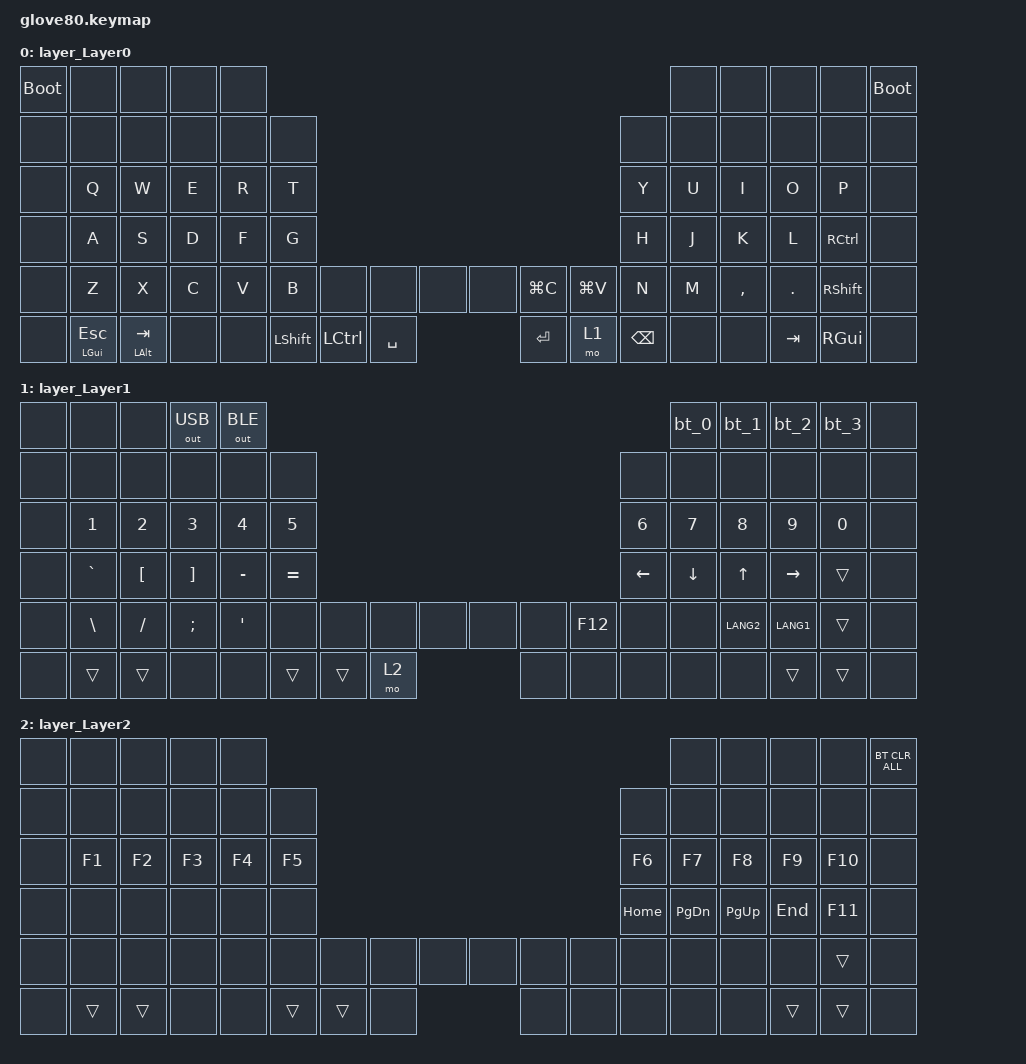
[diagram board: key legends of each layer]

/*
 * Copyright (c) 2020 The ZMK Contributors
 * Copyright (c) 2022 Innaworks Development Limited, trading as MoErgo
 *
 * SPDX-License-Identifier: MIT
 */


/* THIS FILE WAS GENERATED BY GLOVE80 LAYOUT EDITOR
 *
 * This file was generated automatically. You may or may not want to
 * edit it directly.
 */

#include <behaviors.dtsi>
#include <dt-bindings/zmk/keys.h>
#include <dt-bindings/zmk/bt.h>
#include <dt-bindings/zmk/rgb.h>
#include <dt-bindings/zmk/outputs.h>


/ {
    /* Glove80 system behavior & macros */

    macros {
        bt_0: bt_profile_macro_0 {
            label = "BT_0";
            compatible = "zmk,behavior-macro";
            #binding-cells = <0>;
            bindings
                = <&out OUT_BLE>,
                  <&bt BT_SEL 0>;
        };
    };

    macros {
        bt_1: bt_profile_macro_1 {
            label = "BT_1";
            compatible = "zmk,behavior-macro";
            #binding-cells = <0>;
            bindings
                = <&out OUT_BLE>,
                  <&bt BT_SEL 1>;
        };
    };

    macros {
        bt_2: bt_profile_macro_2 {
            label = "BT_2";
            compatible = "zmk,behavior-macro";
            #binding-cells = <0>;
            bindings
                = <&out OUT_BLE>,
                  <&bt BT_SEL 2>;
        };
    };

    macros {
        bt_3: bt_profile_macro_3 {
            label = "BT_3";
            compatible = "zmk,behavior-macro";
            #binding-cells = <0>;
            bindings
                = <&out OUT_BLE>,
                  <&bt BT_SEL 3>;
        };
    };

    /* Custom Defined Behaviors */


    /* Automatically generated keymap */
    keymap {
        compatible = "zmk,keymap";

        layer_Layer0 {
            bindings = <
  &bootloader        &none         &none   &none  &none                                                                                &none      &none    &none      &none  &bootloader
       &none         &none         &none   &none  &none  &none                                                                  &none  &none      &none    &none      &none        &none
       &none         &kp Q         &kp W   &kp E  &kp R  &kp T                                                                  &kp Y  &kp U      &kp I    &kp O      &kp P        &none
       &none         &kp A         &kp S   &kp D  &kp F  &kp G                                                                  &kp H  &kp J      &kp K    &kp L  &kp RCTRL        &none
       &none         &kp Z         &kp X   &kp C  &kp V  &kp B      &none      &none      &none    &none  &kp LG(C)  &kp LG(V)  &kp N  &kp M  &kp COMMA  &kp DOT  &kp RSHFT        &none
       &none  &mt LGUI ESC  &mt LALT TAB   &none  &none         &kp LSHFT  &kp LCTRL  &kp SPACE  &kp RET      &mo 1   &kp BSPC         &none      &none  &kp TAB   &kp RGUI        &none
            >;
        };

        layer_Layer1 {
            bindings = <
  &none      &none     &none  &out OUT_USB  &out OUT_BLE                                                                          &bt_0      &bt_1      &bt_2   &bt_3  &none
  &none      &none     &none         &none         &none      &none                                                     &none     &none      &none      &none   &none  &none
  &none     &kp N1    &kp N2        &kp N3        &kp N4     &kp N5                                                    &kp N6    &kp N7     &kp N8     &kp N9  &kp N0  &none
  &none  &kp GRAVE  &kp LBKT      &kp RBKT     &kp MINUS  &kp EQUAL                                                  &kp LEFT  &kp DOWN     &kp UP  &kp RIGHT  &trans  &none
  &none   &kp BSLH  &kp FSLH      &kp SEMI       &kp SQT      &none   &none    &none  &none   &none  &none  &kp F12     &none     &none  &kp LANG2  &kp LANG1  &trans  &none
  &none     &trans    &trans         &none         &none             &trans   &trans  &mo 2   &none  &none    &none               &none      &none     &trans  &trans  &none
           >;
        };

        layer_Layer2 {
            bindings = <
  &none   &none   &none   &none   &none                                                                    &none      &none    &none    &none  &bt BT_CLR_ALL
  &none   &none   &none   &none   &none   &none                                                 &none      &none      &none    &none    &none  &none
  &none  &kp F1  &kp F2  &kp F3  &kp F4  &kp F5                                                &kp F6     &kp F7     &kp F8   &kp F9  &kp F10  &none
  &none   &none   &none   &none   &none   &none                                              &kp HOME  &kp PG_DN  &kp PG_UP  &kp END  &kp F11  &none
  &none   &none   &none   &none   &none   &none   &none   &none  &none  &none  &none  &none     &none      &none      &none    &none   &trans  &none
  &none  &trans  &trans   &none   &none          &trans  &trans  &none  &none  &none  &none                &none      &none   &trans   &trans  &none
            >;
        };


/*
        layer_Layer0 {
            bindings = <
  &none  &none  &none  &none  &none                                                          &none  &none  &none  &none  &none
  &none  &none  &none  &none  &none  &none                                            &none  &none  &none  &none  &none  &none
  &none  &none  &none  &none  &none  &none                                            &none  &none  &none  &none  &none  &none
  &none  &none  &none  &none  &none  &none                                            &none  &none  &none  &none  &none  &none
  &none  &none  &none  &none  &none  &none  &none  &none  &none  &none  &none  &none  &none  &none  &none  &none  &none  &none
  &none  &none  &none  &none  &none         &none  &none  &none  &none  &none  &none         &none  &none  &none  &none  &none
            >;
        };
*/
    };

};

